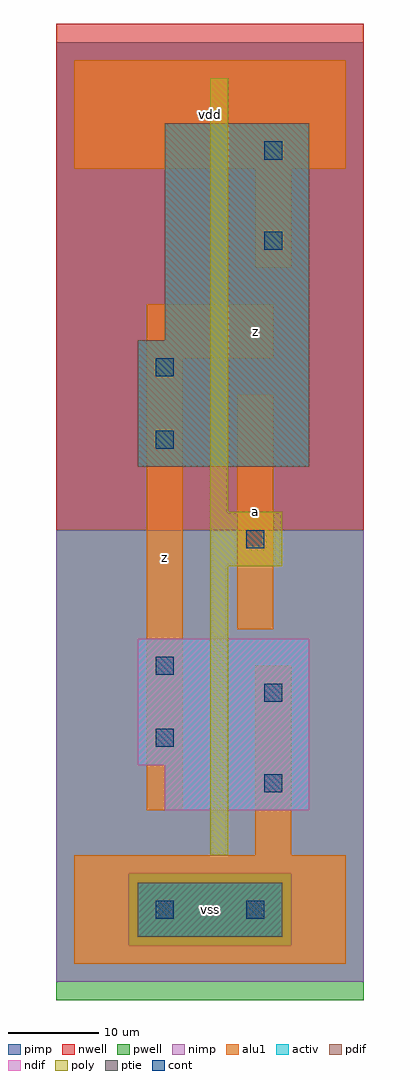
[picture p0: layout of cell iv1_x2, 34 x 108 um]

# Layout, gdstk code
import gdstk
lib = gdstk.Library(unit=1e-6, precision=1e-09)
def R(c, l, rs):  # rectangles x0, y0, x1, y1
    for r in rs: c.add(gdstk.rectangle(r[:2], r[2:], *l))
ndif = (3, 0)
pdif = (4, 0)
ptie = (6, 0)
cont = (25, 0)
pwell = (41, 0)
nwell = (42, 0)
activ = (43, 0)
pimp = (44, 0)
nimp = (45, 0)
poly = (46, 0)
alu1 = (49, 0)

iv1_x2 = lib.new_cell('iv1_x2')
R(iv1_x2, ndif, [(10,17,26,22), (7,22,26,36)])
R(iv1_x2, pdif, [(7,55,26,69), (10,69,26,93)])
R(iv1_x2, ptie, [(7,3,23,9)])
R(iv1_x2, cont, [(9,5,11,7), (19,5,21,7), (21,19,23,21), (9,24,11,26), (21,29,23,31), (9,32,11,34), (19,46,21,48), (9,57,11,59), (9,65,11,67), (21,79,23,81), (21,89,23,91)])
R(iv1_x2, pwell, [(-2,-4,32,48)])
R(iv1_x2, nwell, [(-2,48,32,104)])
R(iv1_x2, activ, [(7,3,23,9), (10,17,26,22), (7,22,26,36), (7,55,26,69), (10,69,26,93)])
R(iv1_x2, pimp, [(6,2,24,10), (-2,48,32,102)])
R(iv1_x2, nimp, [(-2,-2,32,2), (-2,2,6,10), (24,2,32,10), (-2,10,32,48)])
R(iv1_x2, poly, [(15,12,17,44), (15,44,23,50), (15,50,17,98)])
R(iv1_x2, alu1, [(0,0,30,12), (20,12,24,33), (8,17,12,67), (18,37,22,63), (8,67,22,73), (20,77,24,88), (0,88,30,100)])
iv1_x2.add(gdstk.Label('z', (10,45), layer=49, texttype=0))
iv1_x2.add(gdstk.Label('vss', (15,6), layer=49, texttype=0))
iv1_x2.add(gdstk.Label('a', (20,50), layer=49, texttype=0))
iv1_x2.add(gdstk.Label('z', (20,70), layer=49, texttype=0))
iv1_x2.add(gdstk.Label('vdd', (15,94), layer=49, texttype=0))

lib.write_gds('iv1_x2.gds')
